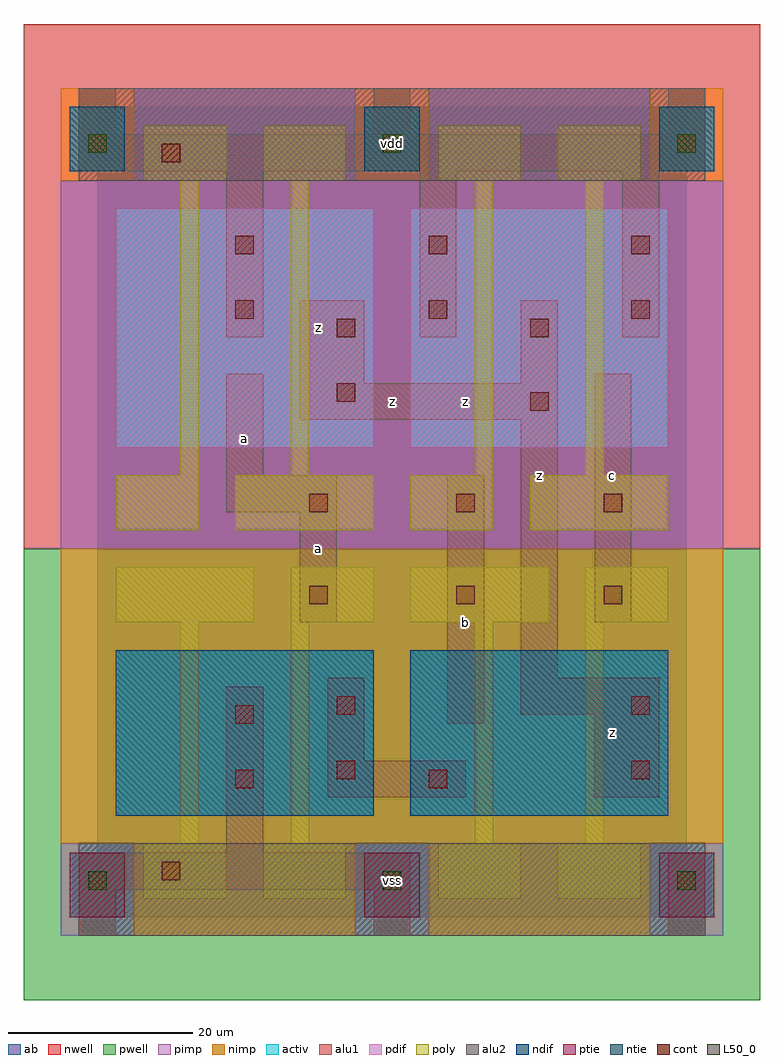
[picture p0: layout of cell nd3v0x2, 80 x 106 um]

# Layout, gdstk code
import gdstk
lib = gdstk.Library(unit=1e-6, precision=1e-09)
def R(c, l, rs):  # rectangles x0, y0, x1, y1
    for r in rs: c.add(gdstk.rectangle(r[:2], r[2:], *l))
def A(c, l, x, y, w, h, nx, ny, dx, dy):  # array of equal rectangles
    R(c, l, [(x+i*dx, y+j*dy, x+i*dx+w, y+j*dy+h) for i in range(nx) for j in range(ny)])
ndif = (3, 0)
pdif = (4, 0)
ntie = (5, 0)
ptie = (6, 0)
cont = (25, 0)
pwell = (41, 0)
nwell = (42, 0)
activ = (43, 0)
pimp = (44, 0)
nimp = (45, 0)
poly = (46, 0)
alu1 = (49, 0)
L50_0 = (50, 0)
alu2 = (51, 0)
ab = (63, 0)

nd3v0x2 = lib.new_cell('nd3v0x2')
R(nd3v0x2, ndif, [(2,11,30,29), (34,11,62,29)])
R(nd3v0x2, pdif, [(2,51,30,77), (34,51,62,77)])
A(nd3v0x2, ntie, -3, 81, 6, 7, 3, 1, 32, 0)
A(nd3v0x2, ptie, -3, 0, 6, 7, 3, 1, 32, 0)
A(nd3v0x2, cont, -1, 3, 2, 2, 3, 2, 32, 80)
A(nd3v0x2, cont, 23, 34, 2, 2, 3, 2, 16, 10)
R(nd3v0x2, cont, [(7,4,9,6), (15,14,17,16), (36,14,38,16), (26,15,28,17), (58,15,60,17), (15,21,17,23), (26,22,28,24), (58,22,60,24), (47,55,49,57), (26,56,28,58), (26,63,28,65), (47,63,49,65), (15,65,17,67), (36,65,38,67), (58,65,60,67), (15,72,17,74), (36,72,38,74), (58,72,60,74), (7,82,9,84)])
R(nd3v0x2, pwell, [(-8,-9,72,40)])
R(nd3v0x2, nwell, [(-8,40,72,97)])
A(nd3v0x2, activ, -3, 0, 6, 7, 3, 2, 32, 81)
R(nd3v0x2, activ, [(2,11,30,29), (34,11,62,29), (2,51,30,77), (34,51,62,77)])
A(nd3v0x2, pimp, -4, -2, 8, 10, 3, 1, 32, 0)
R(nd3v0x2, pimp, [(-4,40,68,80), (4,80,28,90), (36,80,60,90)])
A(nd3v0x2, nimp, -4, 80, 8, 10, 3, 1, 32, 0)
R(nd3v0x2, nimp, [(4,-2,28,8), (36,-2,60,8), (-4,8,68,40)])
R(nd3v0x2, poly, [(5,2,14,8), (18,2,27,8), (37,2,46,8), (50,2,59,8), (9,8,11,32), (21,8,23,32), (41,8,43,32), (53,8,55,32), (2,32,17,38), (21,32,30,38), (34,32,49,38), (53,32,62,38), (2,42,11,48), (15,42,30,48), (34,42,43,48), (47,42,62,48), (9,48,11,80), (21,48,23,80), (41,48,43,80), (53,48,55,80), (5,80,14,86), (18,80,27,86), (37,80,46,86), (50,80,59,86)])
A(nd3v0x2, alu1, -2, 85, 4, 5, 3, 1, 32, 0)
R(nd3v0x2, alu1, [(-2,-2,2,3), (30,-2,34,3), (62,-2,66,7), (-2,3,34,7), (14,7,18,25), (25,13,40,17), (54,13,61,22), (25,17,29,26), (38,21,42,48), (46,22,61,26), (46,26,50,54), (22,32,26,44), (54,32,58,59), (14,44,26,48), (14,48,18,59), (22,54,50,58), (22,58,29,67), (46,58,50,67), (14,63,18,81), (35,63,39,81), (57,63,61,81), (-2,81,66,85)])
A(nd3v0x2, L50_0, -1, 3, 2, 2, 3, 2, 32, 80)
R(nd3v0x2, alu2, [(-2,-2,66,8), (-2,80,66,90)])
R(nd3v0x2, ab, [(0,0,64,88)])
nd3v0x2.add(gdstk.Label('a', (24,40), layer=49, texttype=0))
nd3v0x2.add(gdstk.Label('a', (16,52), layer=49, texttype=0))
nd3v0x2.add(gdstk.Label('z', (24,64), layer=49, texttype=0))
nd3v0x2.add(gdstk.Label('b', (40,32), layer=49, texttype=0))
nd3v0x2.add(gdstk.Label('z', (32,56), layer=49, texttype=0))
nd3v0x2.add(gdstk.Label('z', (40,56), layer=49, texttype=0))
nd3v0x2.add(gdstk.Label('z', (56,20), layer=49, texttype=0))
nd3v0x2.add(gdstk.Label('c', (56,48), layer=49, texttype=0))
nd3v0x2.add(gdstk.Label('z', (48,48), layer=49, texttype=0))
nd3v0x2.add(gdstk.Label('vss', (32,4), layer=51, texttype=0))
nd3v0x2.add(gdstk.Label('vdd', (32,84), layer=51, texttype=0))

lib.write_gds('nd3v0x2.gds')
